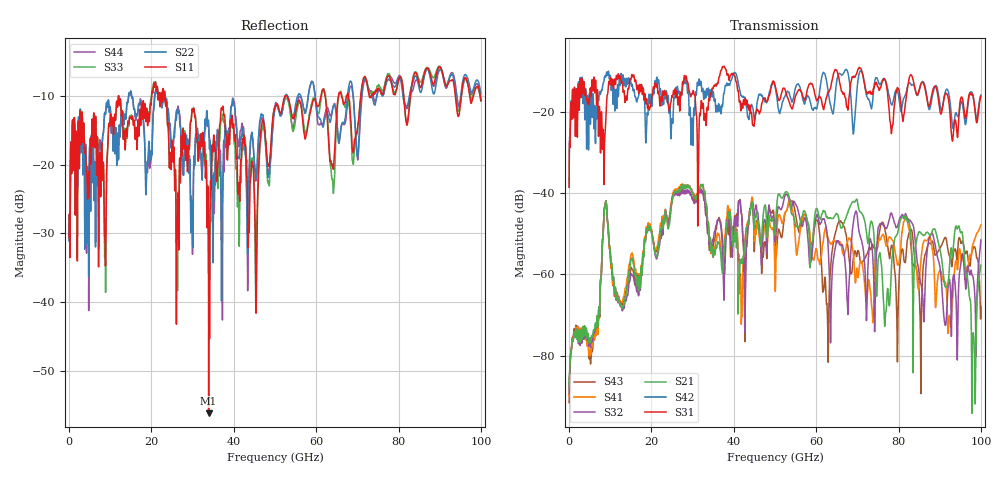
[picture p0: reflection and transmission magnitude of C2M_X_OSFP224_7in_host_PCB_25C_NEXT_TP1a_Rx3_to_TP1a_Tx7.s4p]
# GHz S RI R 45
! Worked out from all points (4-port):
!   4000 points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, 25 MHz to 100 GHz, reference 45 ohm
!   strongest paths, dB at 25 MHz, 25.02 GHz, 50.02 GHz, 75.03 GHz, 100 GHz:
!     S31: -38.6, -16.1, -13.6, -13.9, -16.2
!     S42: -38.6, -21.8, -13.7, -12.6, -15.9
!     S21: -87.5, -42.0, -50.2, -56.8, -57.7
!     S32: -89.4, -42.3, -51.9, -48.9, -51.5
!     S41: -89.9, -40.9, -61.7, -51.8, -47.9
!     S43: -91.5, -41.4, -50.5, -52.4, -67.8
!   lowest |S11| = -56.2 dB at 33.9 GHz (marker M1), VSWR 1.00, Z = 44.9 + j0.0909 ohm
!   |S11| at or under -10 dB: start of sweep to 11.99 GHz; 23.32 GHz to 52.43 GHz (29.11 GHz wide, 76.9 % of centre); 52.94 GHz to 61.16 GHz (8.218 GHz wide, 14.4 % of centre) (the widest 3 of 16)
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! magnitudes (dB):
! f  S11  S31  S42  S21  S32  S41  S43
! 25 MHz  -30.6  -38.6  -38.6  -87.5  -89.4  -89.9  -91.5
! 5.7 GHz  -14.4  -13.2  -18.6  -75.1  -76.3  -77.6  -78.6
! 8.875 GHz  -34.1  -23.2  -11.5  -42.4  -42.3  -42.2  -42.1
! 12.93 GHz  -12.2  -12.9  -12.2  -68.3  -68.9  -66.9  -67.5
! 33.9 GHz  -56.2  -17.0  -14.9  -47.8  -49.9  -48.4  -50.3
! 92.38 GHz  -7.8  -19.0  -16.6  -57.9  -61.2  -70.1  -55.6
! 100 GHz  -10.6  -16.2  -15.9  -57.7  -51.5  -47.9  -67.8
